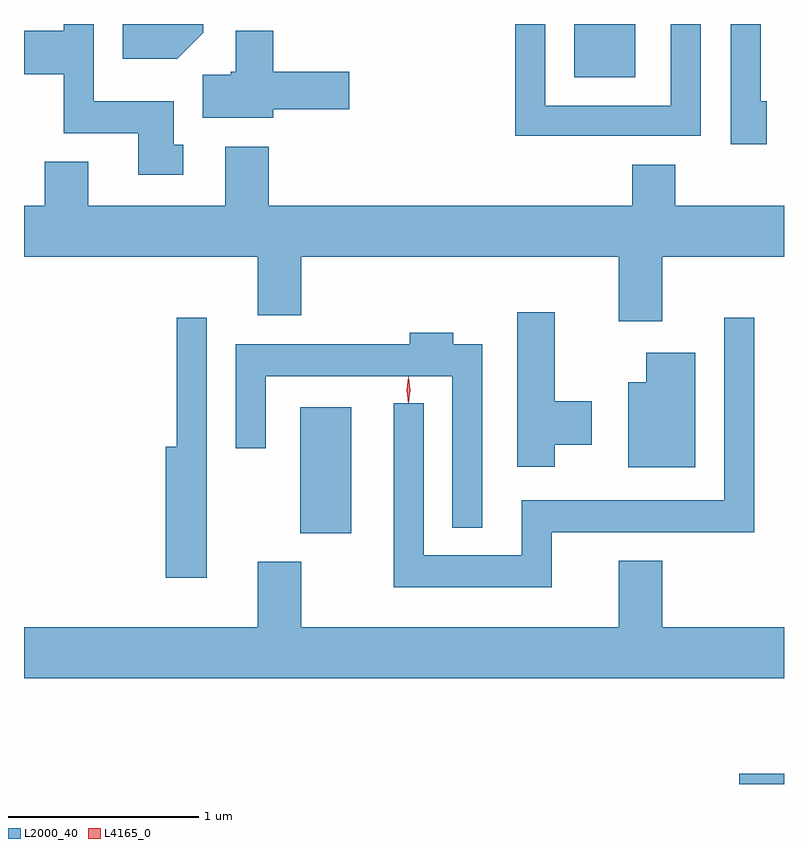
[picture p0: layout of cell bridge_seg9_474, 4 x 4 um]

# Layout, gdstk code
import gdstk
lib = gdstk.Library(unit=1e-6, precision=1e-09)
def R(c, l, rs):  # rectangles x0, y0, x1, y1
    for r in rs: c.add(gdstk.rectangle(r[:2], r[2:], *l))
def P(c, l, *ps):  # polygons
    for p in ps: c.add(gdstk.Polygon(p, *l))
L2000_40 = (2000, 40)
L4165_0 = (4165, 0)

bridge_seg9_474 = lib.new_cell('bridge_seg9_474')
R(bridge_seg9_474, L2000_40, [(551.316,1971.28,551.551,1971.334), (549.006,1972.601,549.274,1973.264), (550.446,1975.001,550.769,1975.28)])
P(bridge_seg9_474, L2000_40, [(551.114,1975.28),(550.956,1975.28),(550.956,1974.849),(550.294,1974.849),(550.294,1975.28),(550.136,1975.28),(550.136,1974.691),(551.114,1974.691)],
  [(551.459,1974.874),(551.429,1974.874),(551.429,1975.28),(551.271,1975.28),(551.271,1974.646),(551.459,1974.646)],
  [(548.494,1975.234),(548.494,1975.28),(548.071,1975.28),(548.071,1975.096),(548.357,1975.096)],
  [(548.388,1974.644),(548.339,1974.644),(548.339,1974.874),(547.919,1974.874),(547.919,1975.28),(547.761,1975.28),(547.761,1975.244),(547.551,1975.244),(547.551,1975.016),(547.761,1975.016),(547.761,1974.706),(548.151,1974.706),(548.151,1974.486),(548.388,1974.486)],
  [(548.864,1974.831),(549.264,1974.831),(549.264,1975.029),(548.864,1975.029),(548.864,1975.244),(548.666,1975.244),(548.666,1975.029),(548.64,1975.029),(548.64,1975.014),(548.491,1975.014),(548.491,1974.786),(548.864,1974.786)],
  [(550.909,1974.056),(551.551,1974.056),(551.551,1974.324),(550.979,1974.324),(550.979,1974.539),(550.751,1974.539),(550.751,1974.324),(548.839,1974.324),(548.839,1974.634),(548.611,1974.634),(548.611,1974.324),(547.889,1974.324),(547.889,1974.554),(547.661,1974.554),(547.661,1974.324),(547.551,1974.324),(547.551,1974.056),(548.781,1974.056),(548.781,1973.746),(549.009,1973.746),(549.009,1974.056),(550.681,1974.056),(550.681,1973.716),(550.909,1973.716)],
  [(550.344,1973.066),(550.539,1973.066),(550.539,1973.294),(550.344,1973.294),(550.344,1973.764),(550.146,1973.764),(550.146,1972.951),(550.344,1972.951)],
  [(548.514,1973.733),(548.356,1973.733),(548.356,1973.054),(548.296,1973.054),(548.296,1972.366),(548.514,1972.366)],
  [(550.329,1972.606),(551.394,1972.606),(551.394,1973.733),(551.236,1973.733),(551.236,1972.774),(550.171,1972.774),(550.171,1972.484),(549.654,1972.484),(549.654,1973.283),(549.496,1973.283),(549.496,1972.316),(550.329,1972.316)],
  [(549.964,1973.594),(549.809,1973.594),(549.809,1973.654),(549.581,1973.654),(549.581,1973.594),(548.666,1973.594),(548.666,1973.048),(548.824,1973.048),(548.824,1973.426),(549.806,1973.426),(549.806,1972.628),(549.964,1972.628)],
  [(551.084,1973.549),(550.826,1973.549),(550.826,1973.394),(550.731,1973.394),(550.731,1972.946),(551.084,1972.946)],
  [(551.551,1972.104),(550.909,1972.104),(550.909,1972.454),(550.681,1972.454),(550.681,1972.104),(549.009,1972.104),(549.009,1972.449),(548.781,1972.449),(548.781,1972.104),(547.551,1972.104),(547.551,1971.836),(551.551,1971.836)])
P(bridge_seg9_474, L4165_0, [(549.574,1973.284),(549.565,1973.353),(549.574,1973.422),(549.575,1973.423),(549.576,1973.422),(549.585,1973.353),(549.576,1973.284),(549.575,1973.284)],
  [(549.575,1973.287),(549.574,1973.288),(549.565,1973.354),(549.574,1973.42),(549.574,1973.42),(549.575,1973.42),(549.584,1973.354),(549.575,1973.288)])

lib.write_gds('bridge_seg9_474.gds')
